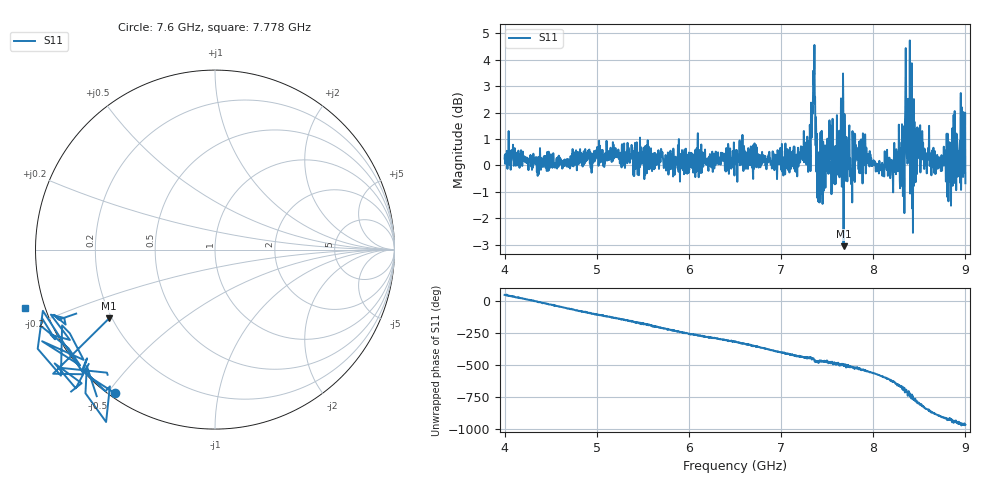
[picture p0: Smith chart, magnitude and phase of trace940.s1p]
! Created with skrf 1.8.0 (http://scikit-rf.org).
# Hz S RI R 50.0
!freq ReS11 ImS11
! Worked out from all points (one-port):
!   1601 points, 4 GHz to 9 GHz, reference 50 ohm
!   lowest |S11| = -3.0 dB at 7.678 GHz (marker M1), VSWR 5.76, Z = 9.41 - j14.3 ohm
!   |S11| at or under -10 dB: nowhere
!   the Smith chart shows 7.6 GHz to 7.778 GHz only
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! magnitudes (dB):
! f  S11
! 4 GHz  0.3
! 4.625 GHz  -0.1
! 5.25 GHz  0.1
! 5.875 GHz  0.1
! 6.5 GHz  0.2
! 7.125 GHz  0.0
! 7.297 GHz  0.6
! 7.35 GHz  3.6
! 7.362 GHz  4.5
! 7.397 GHz  -0.8
! 7.409 GHz  0.2
! 7.512 GHz  0.9
! 7.572 GHz  -0.4
! 7.65 GHz  2.5
! 7.678 GHz  -3.0
! 7.75 GHz  0.3
! 7.891 GHz  0.7
! 8.097 GHz  0.1
! 8.259 GHz  0.1
! 8.316 GHz  0.5
! 8.334 GHz  -0.1
! 8.375 GHz  0.4
! 8.447 GHz  1.7
! 8.466 GHz  0.2
! 8.569 GHz  0.1
! 8.841 GHz  0.0
! 8.972 GHz  0.8
! 9 GHz  -0.7
